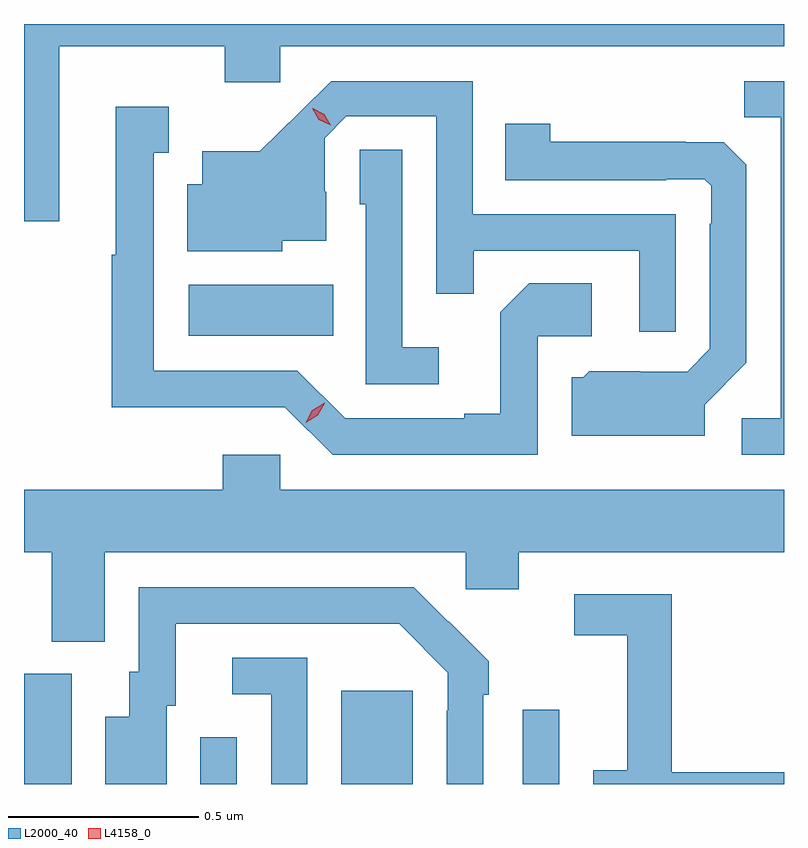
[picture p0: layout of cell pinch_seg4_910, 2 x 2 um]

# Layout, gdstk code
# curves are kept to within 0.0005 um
import gdstk
lib = gdstk.Library(unit=1e-6, precision=1e-09)
def R(c, l, rs):  # rectangles x0, y0, x1, y1
    for r in rs: c.add(gdstk.rectangle(r[:2], r[2:], *l))
def P(c, l, *ps):  # polygons
    for p in ps: c.add(gdstk.Polygon(p, *l))
L2000_40 = (2000, 40)
L4158_0 = (4158, 0)

pinch_seg4_910 = lib.new_cell('pinch_seg4_910')
R(pinch_seg4_910, L2000_40, [(705.484,829.51,705.61,829.8), (705.948,829.51,706.044,829.633), (706.319,829.51,706.507,829.756), (706.797,829.51,706.893,829.705), (705.918,830.69,706.298,830.824)])
P(pinch_seg4_910, L2000_40, [(705.577,831.452),(706.012,831.452),(706.012,831.357),(706.158,831.357),(706.158,831.452),(707.484,831.452),(707.484,831.51),(705.484,831.51),(705.484,830.991),(705.577,830.991)],
  [(707.484,831.36),(707.38,831.36),(707.38,831.265),(707.475,831.265),(707.475,830.472),(707.373,830.472),(707.373,830.376),(707.484,830.376)],
  [(707.199,831.009),(706.665,831.009),(706.665,831.36),(706.292,831.36),(706.105,831.175),(705.953,831.175),(705.953,831.088),(705.914,831.088),(705.914,830.912),(706.164,830.912),(706.164,830.939),(706.279,830.939),(706.279,831.068),(706.275,831.068),(706.275,831.21),(706.332,831.267),(706.569,831.267),(706.569,830.8),(706.667,830.8),(706.667,830.913),(707.103,830.913),(707.103,830.7),(707.199,830.7)],
  [(706.836,830.688),(706.978,830.688),(706.978,830.828),(706.813,830.828),(706.737,830.752),(706.737,830.485),(706.643,830.485),(706.643,830.472),(706.329,830.472),(706.203,830.598),(705.826,830.598),(705.826,831.171),(705.865,831.171),(705.865,831.292),(705.725,831.292),(705.725,830.903),(705.715,830.903),(705.715,830.501),(705.948,830.501),(705.948,830.502),(706.17,830.502),(706.296,830.376),(706.836,830.376)],
  [(707.275,830.508),(707.385,830.618),(707.385,831.14),(707.326,831.199),(707.225,831.199),(707.225,831.2),(706.869,831.2),(706.869,831.247),(706.75,831.247),(706.75,831.099),(707.174,831.099),(707.174,831.102),(707.274,831.102),(707.292,831.084),(707.292,830.984),(707.289,830.984),(707.289,830.655),(707.229,830.595),(707.106,830.595),(707.106,830.596),(706.972,830.596),(706.956,830.58),(706.925,830.58),(706.925,830.426),(707.275,830.426)],
  [(706.576,830.659),(706.479,830.659),(706.479,831.179),(706.368,831.179),(706.368,831.036),(706.383,831.036),(706.383,830.562),(706.576,830.562)],
  [(705.697,830.12),(706.647,830.12),(706.647,830.022),(706.786,830.022),(706.786,830.12),(707.484,830.12),(707.484,830.284),(706.158,830.284),(706.158,830.377),(706.007,830.377),(706.007,830.284),(705.484,830.284),(705.484,830.12),(705.557,830.12),(705.557,829.885),(705.697,829.885)],
  [(705.859,829.716),(705.883,829.716),(705.883,829.932),(706.471,829.932),(706.599,829.803),(706.599,829.703),(706.596,829.703),(706.596,829.51),(706.692,829.51),(706.692,829.745),(706.707,829.745),(706.707,829.833),(706.602,829.938),(706.601,829.937),(706.51,830.028),(705.786,830.028),(705.786,829.806),(705.761,829.806),(705.761,829.687),(705.698,829.687),(705.698,829.51),(705.859,829.51)],
  [(707.484,829.541),(707.189,829.541),(707.189,830.01),(706.932,830.01),(706.932,829.902),(707.072,829.902),(707.072,829.546),(706.982,829.546),(706.982,829.51),(707.484,829.51)],
  [(706.23,829.842),(706.032,829.842),(706.032,829.746),(706.134,829.746),(706.134,829.51),(706.23,829.51)])
P(pinch_seg4_910, L4158_0, [(706.291,831.243),(706.26,831.258),(706.243,831.288),(706.243,831.288),(706.244,831.288),(706.274,831.273),(706.291,831.243),(706.291,831.243)],
  [(706.225,830.461),(706.225,830.461),(706.243,830.494),(706.275,830.513),(706.275,830.513),(706.275,830.512),(706.257,830.48),(706.226,830.461)])

lib.write_gds('pinch_seg4_910.gds')
